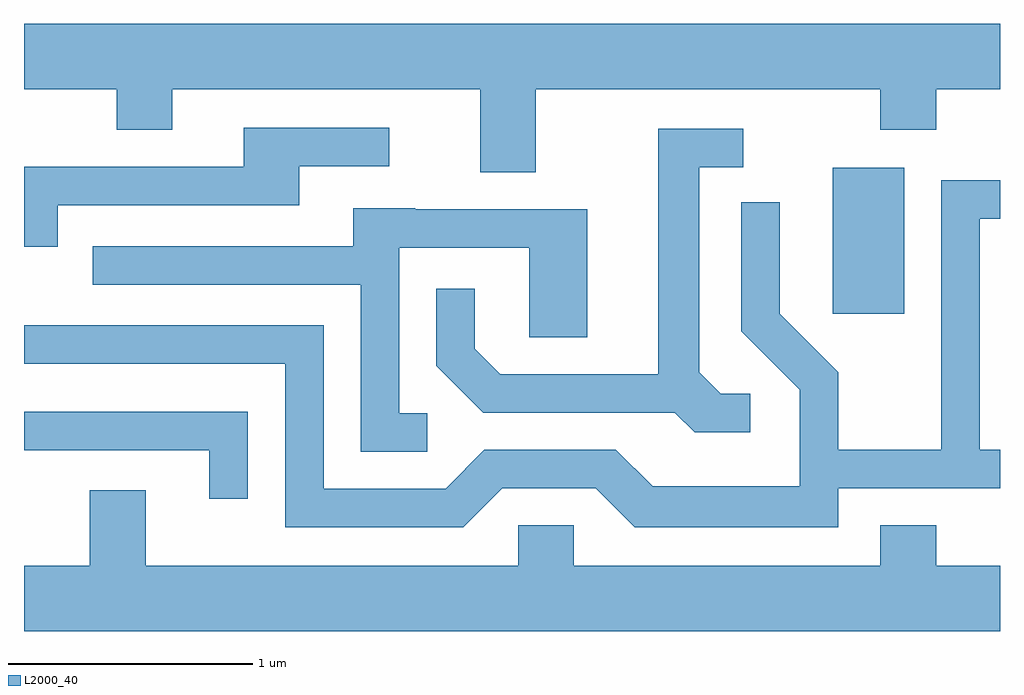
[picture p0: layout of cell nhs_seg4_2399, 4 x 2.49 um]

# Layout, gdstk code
import gdstk
lib = gdstk.Library(unit=1e-6, precision=1e-09)
def R(c, l, rs):  # rectangles x0, y0, x1, y1
    for r in rs: c.add(gdstk.rectangle(r[:2], r[2:], *l))
def P(c, l, *ps):  # polygons
    for p in ps: c.add(gdstk.Polygon(p, *l))
L2000_40 = (2000, 40)

nhs_seg4_2399 = lib.new_cell('nhs_seg4_2399')
R(nhs_seg4_2399, L2000_40, [(258.926,1293.816,259.219,1294.414)])
P(nhs_seg4_2399, L2000_40, [(257.709,1294.736),(259.121,1294.736),(259.121,1294.571),(259.349,1294.571),(259.349,1294.736),(259.611,1294.736),(259.611,1295.004),(255.611,1295.004),(255.611,1294.736),(255.991,1294.736),(255.991,1294.571),(256.219,1294.571),(256.219,1294.736),(257.481,1294.736),(257.481,1294.396),(257.709,1294.396)],
  [(255.749,1294.261),(256.739,1294.261),(256.739,1294.421),(257.108,1294.421),(257.108,1294.579),(256.511,1294.579),(256.511,1294.419),(255.611,1294.419),(255.611,1294.091),(255.749,1294.091)],
  [(258.587,1293.489),(258.467,1293.489),(258.379,1293.577),(258.379,1294.416),(258.558,1294.416),(258.558,1294.574),(258.211,1294.574),(258.211,1293.569),(257.562,1293.569),(257.459,1293.672),(257.459,1293.918),(257.301,1293.918),(257.301,1293.604),(257.493,1293.411),(258.279,1293.411),(258.359,1293.331),(258.587,1293.331)],
  [(257.572,1293.101),(257.954,1293.101),(258.114,1292.941),(258.949,1292.941),(258.949,1293.101),(259.611,1293.101),(259.611,1293.259),(259.529,1293.259),(259.529,1294.206),(259.611,1294.206),(259.611,1294.364),(259.371,1294.364),(259.371,1293.259),(258.949,1293.259),(258.949,1293.577),(258.709,1293.817),(258.709,1294.273),(258.551,1294.273),(258.551,1293.744),(258.791,1293.504),(258.791,1293.109),(258.187,1293.109),(258.037,1293.259),(257.498,1293.259),(257.339,1293.099),(256.839,1293.099),(256.839,1293.769),(255.611,1293.769),(255.611,1293.611),(256.681,1293.611),(256.681,1292.941),(257.412,1292.941)],
  [(257.263,1293.409),(257.149,1293.409),(257.149,1294.086),(257.681,1294.086),(257.681,1293.721),(257.919,1293.721),(257.919,1294.244),(257.215,1294.244),(257.215,1294.249),(256.961,1294.249),(256.961,1294.094),(255.893,1294.094),(255.893,1293.936),(256.991,1293.936),(256.991,1293.251),(257.263,1293.251)],
  [(256.529,1293.414),(255.611,1293.414),(255.611,1293.256),(256.371,1293.256),(256.371,1293.058),(256.529,1293.058)],
  [(259.611,1292.784),(259.349,1292.784),(259.349,1292.949),(259.121,1292.949),(259.121,1292.784),(257.864,1292.784),(257.864,1292.949),(257.636,1292.949),(257.636,1292.784),(256.109,1292.784),(256.109,1293.094),(255.881,1293.094),(255.881,1292.784),(255.611,1292.784),(255.611,1292.516),(259.611,1292.516)])

lib.write_gds('nhs_seg4_2399.gds')
